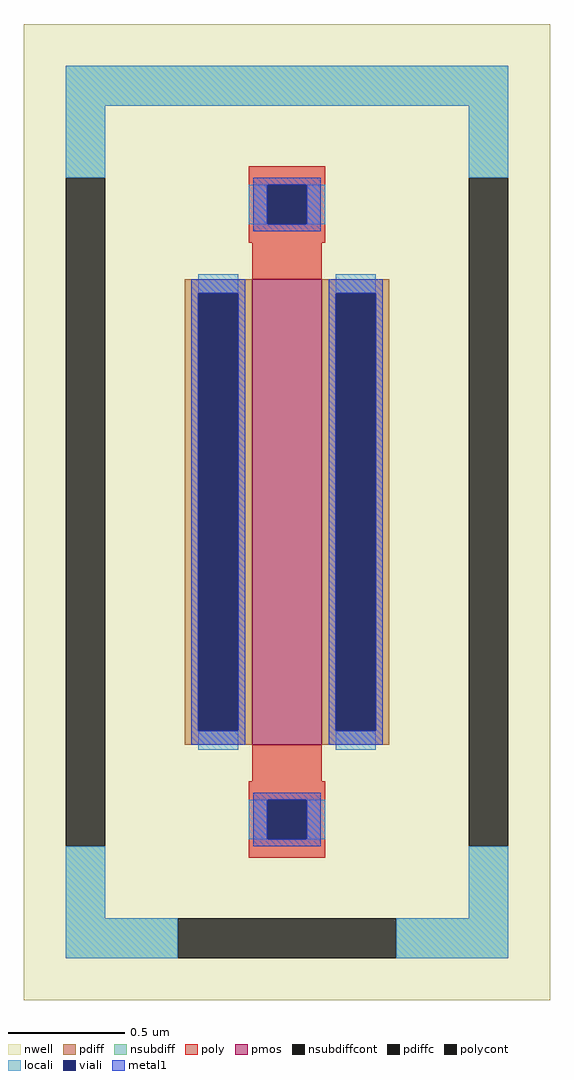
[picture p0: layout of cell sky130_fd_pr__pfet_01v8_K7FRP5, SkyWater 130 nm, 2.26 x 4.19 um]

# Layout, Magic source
magic
tech sky130A
magscale 1 2
<< nwell >>
rect -226 -419 226 419
<< pmos >>
rect -30 -200 30 200
<< pdiff >>
rect -88 188 -30 200
rect -88 -188 -76 188
rect -42 -188 -30 188
rect -88 -200 -30 -188
rect 30 188 88 200
rect 30 -188 42 188
rect 76 -188 88 188
rect 30 -200 88 -188
<< pdiffc >>
rect -76 -188 -42 188
rect 42 -188 76 188
<< nsubdiff >>
rect -190 349 190 383
rect -190 287 -156 349
rect 156 287 190 349
rect -190 -349 -156 -287
rect 156 -349 190 -287
rect -190 -383 -94 -349
rect 94 -383 190 -349
<< nsubdiffcont >>
rect -190 -287 -156 287
rect 156 -287 190 287
rect -94 -383 94 -349
<< poly >>
rect -33 281 33 297
rect -33 247 -17 281
rect 17 247 33 281
rect -33 231 33 247
rect -30 200 30 231
rect -30 -231 30 -200
rect -33 -247 33 -231
rect -33 -281 -17 -247
rect 17 -281 33 -247
rect -33 -297 33 -281
<< polycont >>
rect -17 247 17 281
rect -17 -281 17 -247
<< locali >>
rect -190 349 190 383
rect -190 287 -156 349
rect 156 287 190 349
rect -33 247 -17 281
rect 17 247 33 281
rect -76 188 -42 204
rect -76 -204 -42 -188
rect 42 188 76 204
rect 42 -204 76 -188
rect -33 -281 -17 -247
rect 17 -281 33 -247
rect -190 -349 -156 -287
rect 156 -349 190 -287
rect -190 -383 -94 -349
rect 94 -383 190 -349
<< viali >>
rect -17 247 17 281
rect -76 -188 -42 188
rect 42 -188 76 188
rect -17 -281 17 -247
<< metal1 >>
rect -29 281 29 287
rect -29 247 -17 281
rect 17 247 29 281
rect -29 241 29 247
rect -82 188 -36 200
rect -82 -188 -76 188
rect -42 -188 -36 188
rect -82 -200 -36 -188
rect 36 188 82 200
rect 36 -188 42 188
rect 76 -188 82 188
rect 36 -200 82 -188
rect -29 -247 29 -241
rect -29 -281 -17 -247
rect 17 -281 29 -247
rect -29 -287 29 -281
<< properties >>
string FIXED_BBOX -173 -366 173 366
string gencell sky130_fd_pr__pfet_01v8
string library sky130
string parameters w 2. l 0.3 m 1 nf 1 diffcov 100 polycov 100 guard 1 glc 1 grc 1 gtc 0 gbc 1 tbcov 100 rlcov 100 topc 1 botc 1 poverlap 0 doverlap 1 lmin 0.15 wmin 0.42 compatible {sky130_fd_pr__pfet_01v8  sky130_fd_pr__pfet_01v8_lvt sky130_fd_pr__pfet_01v8_hvt  sky130_fd_pr__pfet_g5v0d10v5} full_metal 1 viasrc 100 viadrn 100 viagate 100 viagb 0 viagr 0 viagl 0 viagt 0
<< end >>
